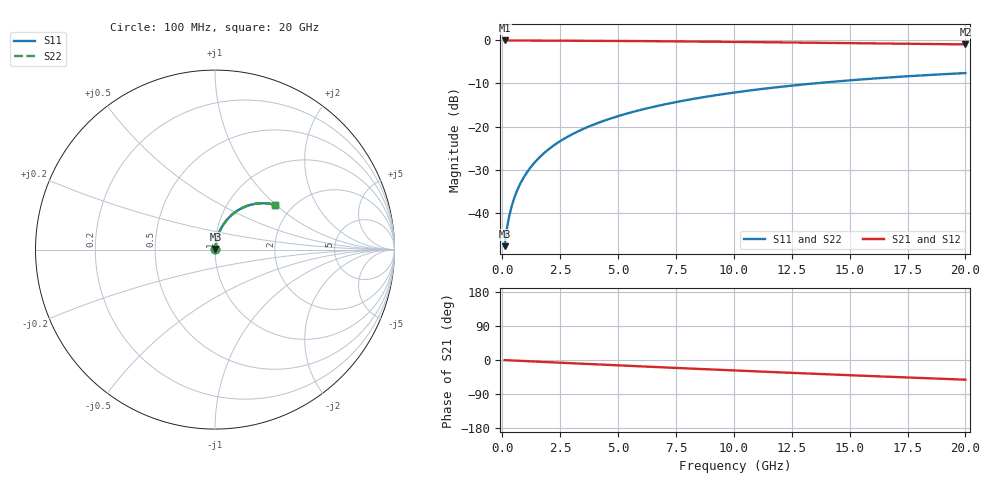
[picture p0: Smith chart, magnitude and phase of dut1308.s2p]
! Touchstone file exported from HFSS 2026.1.0
!  File:  C:/ffzhzh/LocalFiles/Ansys_Project_Files/temp_train_BSMRDL_1308_1783178296_18472.aedt
!  Generated:  11:19:37 PM Jul  4, 2026
!  Design:  BSMRDL
!  Project:  temp_train_BSMRDL_1308_1783178296_18472
! Variables:
!  h_bsmrdl = 4.15um
!  h_ox = 20um
!  h_rdl = 5um
!  h_sub = 80um
!  h_tmrdl = 5um
!  h_tsv = 80um
!  h_via = 3um
!  l_bsmrdl = 800.84um
!  l_sub = 1200.84um
!  l_tmrdl = 200um
!  m_sub = 200um
!  pitch = 54.62um
!  r_tsv = 6um
!  s_tmrdl = 10um
!  w_bsmrdl = 26.97um
!  w_sub = 500um
!  w_tmrdl = 12um
!  x_tsv_center1 = 206um
!  x_tsv_center2 = 1033.81um
!  x_tsv_center3 = 1245.81um
!  x_tsv_center4 = 2073.62um
!  x_tsv_center5 = 2285.62um
!  x_tsv_center6 = 3113.43um
# GHz S MA R 50.000000
! Terminal data exported
! Port[1] = BSM_RDL1_1_T1
! Port[2] = BSM_RDL1_1_T2
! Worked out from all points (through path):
!   200 points, 100 MHz to 20 GHz, reference 50 ohm
!   highest |S21| = -0.02 dB at 100 MHz (marker M1); lowest = -0.9 dB at 20 GHz (marker M2)
!   group delay of S21, straight-line fit = 7.22 ps
!   lowest |S11| = -47.7 dB at 100 MHz (marker M3), VSWR 1.01, Z = 50.3 + j0.303 ohm
!   |S11| at or under -10 dB: start of sweep to 13.45 GHz
!   |S22| runs from -47.7 to -7.6 dB; largest |S21 - S12| = 5.1e-15
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0.1  0.004101 47.2  0.9972 -0.3  0.9972 -0.3  0.004101 47.2
! Gamma 0 0 0 0
! Port Impedance 50 0 50 0
0.2  0.006598 62.5  0.997 -0.6  0.997 -0.6  0.006598 62.5
0.3  0.009184 68.9  0.9968 -0.9  0.9968 -0.9  0.009184 68.9
0.4  0.01178 72.6  0.9966 -1.2  0.9966 -1.2  0.01178 72.6
0.5  0.0144 75.0  0.9965 -1.5  0.9965 -1.5  0.0144 75.0
0.6  0.01703 76.6  0.9964 -1.7  0.9964 -1.7  0.01704 76.6
0.8  0.02235 78.6  0.9962 -2.3  0.9962 -2.3  0.02235 78.6
1.1  0.03038 79.9  0.9959 -3.2  0.9959 -3.2  0.03038 79.9
1.5  0.04111 80.3  0.9953 -4.3  0.9953 -4.3  0.04111 80.3
1.8  0.04915 80.2  0.9948 -5.2  0.9948 -5.2  0.04915 80.2
2.1  0.05716 79.8  0.9942 -6.0  0.9942 -6.0  0.05716 79.8
2.7  0.07307 78.7  0.9927 -7.7  0.9927 -7.7  0.07307 78.7
3.5  0.09399 76.9  0.9904 -10.0  0.9904 -10.0  0.09399 76.9
4.2  0.112 75.2  0.988 -11.9  0.988 -11.9  0.112 75.2
5  0.1321 73.1  0.9849 -14.1  0.9849 -14.1  0.1321 73.1
5.9  0.1543 70.8  0.9811 -16.6  0.9811 -16.6  0.1543 70.8
6.8  0.1759 68.5  0.9769 -19.0  0.9769 -19.0  0.1759 68.5
8.3  0.2106 64.7  0.9692 -23.1  0.9692 -23.1  0.2106 64.6
10.1  0.25 60.1  0.9591 -27.8  0.9591 -27.8  0.25 60.1
13.4  0.3153 52.0  0.9388 -36.2  0.9388 -36.2  0.3153 52.0
16.7  0.3711 44.2  0.9178 -44.2  0.9178 -44.2  0.3711 44.1
20  0.4174 36.6  0.8976 -51.9  0.8976 -51.9  0.4175 36.6
